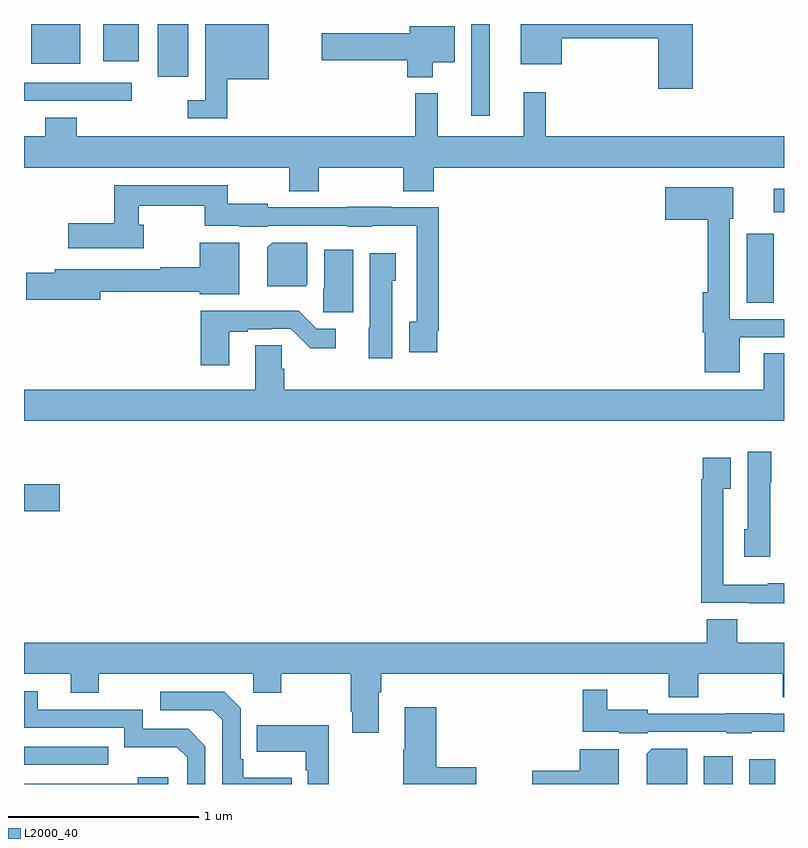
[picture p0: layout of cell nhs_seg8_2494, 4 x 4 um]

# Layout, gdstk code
import gdstk
lib = gdstk.Library(unit=1e-6, precision=1e-09)
def R(c, l, rs):  # rectangles x0, y0, x1, y1
    for r in rs: c.add(gdstk.rectangle(r[:2], r[2:], *l))
def P(c, l, *ps):  # polygons
    for p in ps: c.add(gdstk.Polygon(p, *l))
L2000_40 = (2000, 40)

nhs_seg8_2494 = lib.new_cell('nhs_seg8_2494')
R(nhs_seg8_2494, L2000_40, [(270.578,1135.9,270.73,1136.047), (270.818,1135.9,270.955,1136.029), (267,1136.001,267.443,1136.097), (267,1137.335,267.187,1137.477), (270.803,1138.432,270.946,1138.795), (270.945,1138.91,271,1139.032), (269.355,1139.418,269.452,1139.9), (267,1139.496,267.568,1139.592), (267.704,1139.622,267.865,1139.9), (267.038,1139.69,267.295,1139.9), (267.416,1139.705,267.604,1139.9)])
P(nhs_seg8_2494, L2000_40, [(270.521,1139.9),(269.615,1139.9),(269.615,1139.687),(269.83,1139.687),(269.83,1139.824),(270.338,1139.824),(270.338,1139.559),(270.521,1139.559)],
  [(268.07,1139.609),(268.288,1139.609),(268.288,1139.9),(267.954,1139.9),(267.954,1139.849),(267.953,1139.849),(267.953,1139.499),(267.861,1139.499),(267.861,1139.403),(268.07,1139.403)],
  [(269.152,1139.699),(269.266,1139.699),(269.266,1139.887),(269.03,1139.887),(269.03,1139.852),(268.566,1139.852),(268.566,1139.71),(269.018,1139.71),(269.018,1139.621),(269.152,1139.621)],
  [(268.551,1139.144),(268.996,1139.144),(268.996,1139.02),(269.156,1139.02),(269.156,1139.144),(271,1139.144),(271,1139.308),(269.747,1139.308),(269.747,1139.542),(269.63,1139.542),(269.63,1139.308),(269.177,1139.308),(269.177,1139.536),(269.059,1139.536),(269.059,1139.308),(267.278,1139.308),(267.278,1139.407),(267.113,1139.407),(267.113,1139.308),(267,1139.308),(267,1139.144),(268.396,1139.144),(268.396,1139.02),(268.551,1139.02)],
  [(269.176,1138.285),(269.183,1138.285),(269.183,1138.935),(268.933,1138.935),(268.933,1138.937),(268.701,1138.937),(268.701,1138.935),(268.284,1138.935),(268.284,1138.954),(268.072,1138.954),(268.072,1139.052),(267.475,1139.052),(267.475,1138.851),(267.234,1138.851),(267.234,1138.721),(267.63,1138.721),(267.63,1138.843),(267.604,1138.843),(267.604,1138.944),(267.951,1138.944),(267.951,1138.838),(268.134,1138.838),(268.134,1138.832),(268.284,1138.832),(268.284,1138.839),(268.701,1138.839),(268.701,1138.832),(268.833,1138.832),(268.833,1138.838),(269.067,1138.838),(269.067,1138.334),(269.027,1138.334),(269.027,1138.173),(269.176,1138.173)],
  [(270.766,1138.251),(271,1138.251),(271,1138.347),(270.714,1138.347),(270.714,1138.875),(270.733,1138.875),(270.733,1139.041),(270.375,1139.041),(270.375,1138.871),(270.598,1138.871),(270.598,1138.489),(270.572,1138.489),(270.572,1138.278),(270.584,1138.278),(270.584,1138.067),(270.766,1138.067)],
  [(267.4,1138.492),(267.926,1138.492),(267.926,1138.478),(268.132,1138.478),(268.132,1138.75),(267.926,1138.75),(267.926,1138.621),(267.718,1138.621),(267.718,1138.608),(267.161,1138.608),(267.161,1138.592),(267.012,1138.592),(267.012,1138.45),(267.4,1138.45)],
  [(268.492,1138.528),(268.492,1138.75),(268.306,1138.75),(268.28,1138.724),(268.28,1138.52),(268.484,1138.52)],
  [(268.732,1138.711),(268.58,1138.711),(268.58,1138.506),(268.576,1138.506),(268.576,1138.383),(268.732,1138.383)],
  [(268.939,1138.548),(268.957,1138.548),(268.957,1138.693),(268.82,1138.693),(268.82,1138.302),(268.814,1138.302),(268.814,1138.14),(268.939,1138.14)],
  [(268.081,1138.281),(268.177,1138.281),(268.177,1138.293),(268.304,1138.293),(268.304,1138.296),(268.404,1138.296),(268.507,1138.194),(268.642,1138.194),(268.642,1138.296),(268.542,1138.296),(268.447,1138.391),(267.929,1138.391),(267.929,1138.104),(268.081,1138.104)],
  [(271,1138.166),(270.893,1138.166),(270.893,1137.976),(268.37,1137.976),(268.37,1138.086),(268.356,1138.086),(268.356,1138.208),(268.217,1138.208),(268.217,1137.976),(267,1137.976),(267,1137.812),(271,1137.812)],
  [(270.928,1137.486),(270.934,1137.486),(270.934,1137.649),(270.809,1137.649),(270.809,1137.24),(270.791,1137.24),(270.791,1137.096),(270.928,1137.096)],
  [(271,1136.956),(270.915,1136.956),(270.915,1136.95),(270.681,1136.95),(270.681,1137.455),(270.721,1137.455),(270.721,1137.616),(270.573,1137.616),(270.573,1137.503),(270.565,1137.503),(270.565,1136.853),(270.815,1136.853),(270.815,1136.852),(271,1136.852)],
  [(268.867,1136.384),(268.88,1136.384),(268.88,1136.48),(270.394,1136.48),(270.394,1136.356),(270.549,1136.356),(270.549,1136.48),(270.994,1136.48),(270.994,1136.356),(271,1136.356),(271,1136.644),(270.753,1136.644),(270.753,1136.768),(270.593,1136.768),(270.593,1136.644),(267,1136.644),(267,1136.48),(267.245,1136.48),(267.245,1136.381),(267.393,1136.381),(267.393,1136.48),(268.206,1136.48),(268.206,1136.381),(268.353,1136.381),(268.353,1136.48),(268.72,1136.48),(268.72,1136.281),(268.727,1136.281),(268.727,1136.169),(268.867,1136.169)],
  [(270.282,1136.175),(270.699,1136.175),(270.699,1136.168),(270.831,1136.168),(270.831,1136.174),(271,1136.174),(271,1136.271),(270.931,1136.271),(270.931,1136.273),(270.699,1136.273),(270.699,1136.271),(270.282,1136.271),(270.282,1136.29),(270.07,1136.29),(270.07,1136.395),(269.941,1136.395),(269.941,1136.174),(270.132,1136.174),(270.132,1136.168),(270.282,1136.168)],
  [(267.954,1136.1),(267.864,1136.19),(267.624,1136.19),(267.624,1136.292),(267.073,1136.292),(267.073,1136.388),(267,1136.388),(267,1136.196),(267.528,1136.196),(267.528,1136.093),(267.805,1136.093),(267.858,1136.04),(267.858,1135.9),(267.954,1135.9)],
  [(268.409,1135.933),(268.153,1135.933),(268.153,1136.029),(268.14,1136.029),(268.14,1136.298),(268.053,1136.385),(267.717,1136.385),(267.717,1136.289),(267.993,1136.289),(268.044,1136.238),(268.044,1135.9),(268.409,1135.9)],
  [(269.38,1135.988),(269.171,1135.988),(269.171,1136.305),(269.003,1136.305),(269.003,1136.081),(268.996,1136.081),(268.996,1135.9),(269.38,1135.9)],
  [(268.603,1136.209),(268.225,1136.209),(268.225,1136.069),(268.482,1136.069),(268.482,1135.973),(268.494,1135.973),(268.494,1135.9),(268.603,1135.9)],
  [(270.49,1136.086),(270.304,1136.086),(270.278,1136.06),(270.278,1135.9),(270.49,1135.9)],
  [(270.13,1136.084),(269.924,1136.084),(269.924,1135.97),(269.676,1135.97),(269.676,1135.9),(270.13,1135.9)],
  [(267.76,1135.936),(267.599,1135.936),(267.599,1135.902),(267,1135.902),(267,1135.9),(267.76,1135.9)])

lib.write_gds('nhs_seg8_2494.gds')
